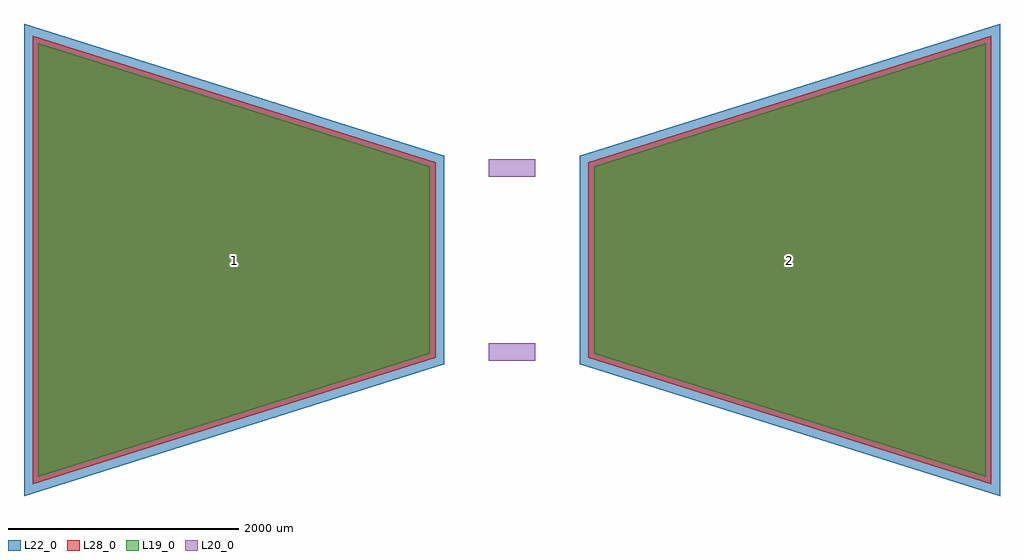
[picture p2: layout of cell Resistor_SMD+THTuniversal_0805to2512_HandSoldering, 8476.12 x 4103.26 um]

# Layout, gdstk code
import gdstk
lib = gdstk.Library(unit=1e-6, precision=1e-09)
def P(c, l, *ps):  # polygons
    for p in ps: c.add(gdstk.Polygon(p, *l))
L19_0 = (19, 0)
L20_0 = (20, 0)
L22_0 = (22, 0)
L28_0 = (28, 0)

resistor_smd_thtuniversa = lib.new_cell('Resistor_SMD+THTuniversal_0805to2512_HandSoldering')
P(resistor_smd_thtuniversa, L19_0, [(712.94,-812.93),(712.94,812.93),(4113.06,1881.328),(4113.06,-1881.328)],
  [(-4113.06,-1881.328),(-4113.06,1881.328),(-712.94,812.93),(-712.94,-812.93)])
P(resistor_smd_thtuniversa, L22_0, [(587.94,-904.679),(587.94,904.679),(4238.06,2051.632),(4238.06,-2051.632)],
  [(-4238.06,-2051.632),(-4238.06,2051.632),(-587.94,904.679),(-587.94,-904.679)])
P(resistor_smd_thtuniversa, L28_0, [(662.94,-849.63),(662.94,849.63),(4163.06,1949.45),(4163.06,-1949.45)],
  [(-4163.06,-1949.45),(-4163.06,1949.45),(-662.94,849.63),(-662.94,-849.63)])
resistor_smd_thtuniversa.add(gdstk.FlexPath([(-200.66,800.1),(200.66,800.1)], 149.998, ends="flush", simple_path=True, layer=20, datatype=0))  # L20_0
resistor_smd_thtuniversa.add(gdstk.FlexPath([(-99.06,800.1),(-200.66,800.1)], 149.998, ends="flush", simple_path=True, layer=20, datatype=0))  # L20_0
resistor_smd_thtuniversa.add(gdstk.FlexPath([(0,-800.1),(-200.66,-800.1)], 149.998, ends="flush", simple_path=True, layer=20, datatype=0))  # L20_0
resistor_smd_thtuniversa.add(gdstk.FlexPath([(0,-800.1),(200.66,-800.1)], 149.998, ends="flush", simple_path=True, layer=20, datatype=0))  # L20_0
resistor_smd_thtuniversa.add(gdstk.Label('2', (2413,0), layer=28, texttype=0))
resistor_smd_thtuniversa.add(gdstk.Label('1', (-2413,0), layer=28, texttype=0))
resistor_smd_thtuniversa.add(gdstk.Label('type', (-398.78,-4201.16), layer=9, texttype=0))
resistor_smd_thtuniversa.add(gdstk.Label('devicename', (99.06,3098.8), layer=9, texttype=0))

lib.write_gds('Resistor_SMD_THTuniversal_0805to2512_HandSoldering.gds')
